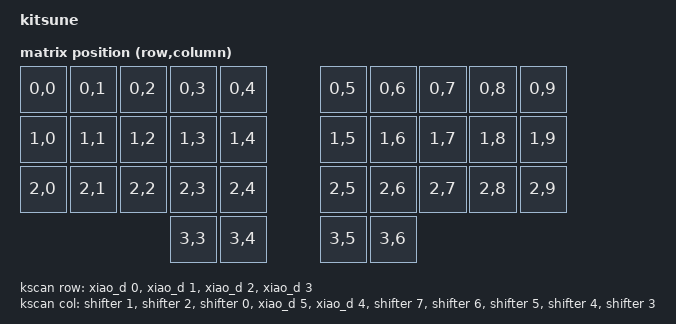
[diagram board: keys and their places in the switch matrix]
/*
 * Copyright (c) 2023 Sviatoslav Bulbakha
 *
 * SPDX-License-Identifier: MIT
 */

#include <dt-bindings/zmk/matrix_transform.h>

&xiao_spi {
	status = "okay";

	cs-gpios = <&xiao_d 7 GPIO_ACTIVE_LOW>, <&xiao_d 6 GPIO_ACTIVE_HIGH>;
	shifter: 595@0 {
		compatible = "zmk,gpio-595";
		status = "okay";
		gpio-controller;
		spi-max-frequency = <200000>;
		reg = <0>;
		label = "4HC595";
		#gpio-cells = <2>;
		ngpios = <8>;
	};

	ls0xx: ls0xx@1 {
		compatible = "sharp,ls0xx";
		label = "DISPLAY";
		spi-max-frequency = <2000000>;
		reg = <1>;
		width = <144>;
		height = <168>;
		// disp-en-gpios = <&gpio0 23 GPIO_ACTIVE_HIGH>;
	};
};


&xiao_serial { status = "disabled"; };

/ {
	model = "kitsune";
	compatible = "ssbb,kitsune";

	chosen {
		zmk,kscan = &kscan;
		zmk,matrix_transform = &transform;
		zephyr,display = &ls0xx;
	};

	transform: transform {
		compatible = "zmk,matrix-transform";
		rows = <4>;
		columns = <10>;

		map = <
	RC(0,0) RC(0,1) RC(0,2) RC(0,3) RC(0,4) 	RC(0,5) RC(0,6) RC(0,7) RC(0,8) RC(0,9)
	RC(1,0) RC(1,1) RC(1,2) RC(1,3) RC(1,4) 	RC(1,5) RC(1,6) RC(1,7) RC(1,8) RC(1,9)
	RC(2,0) RC(2,1) RC(2,2) RC(2,3) RC(2,4) 	RC(2,5) RC(2,6) RC(2,7) RC(2,8) RC(2,9)
	                       RC(3,3)  RC(3,4) 	RC(3,5) RC(3,6)
	  >;
	};
	kscan: kscan {
		compatible = "zmk,kscan-gpio-matrix";
		label = "KSCAN";

		diode-direction = "col2row";

		col-gpios
			= <&shifter 1 (GPIO_ACTIVE_HIGH)>
			, <&shifter 2 (GPIO_ACTIVE_HIGH)>
			, <&shifter 0 (GPIO_ACTIVE_HIGH)>
			, <&xiao_d  5 (GPIO_ACTIVE_HIGH)>
			, <&xiao_d  4 (GPIO_ACTIVE_HIGH)>
			, <&shifter 7 (GPIO_ACTIVE_HIGH)>
			, <&shifter 6 (GPIO_ACTIVE_HIGH)>
			, <&shifter 5 (GPIO_ACTIVE_HIGH)>
			, <&shifter 4 (GPIO_ACTIVE_HIGH)>
			, <&shifter 3 (GPIO_ACTIVE_HIGH)>
			;
		row-gpios
			= <&xiao_d 0 (GPIO_ACTIVE_HIGH | GPIO_PULL_DOWN)>
			, <&xiao_d 1 (GPIO_ACTIVE_HIGH | GPIO_PULL_DOWN)>
			, <&xiao_d 2 (GPIO_ACTIVE_HIGH | GPIO_PULL_DOWN)>
			, <&xiao_d 3 (GPIO_ACTIVE_HIGH | GPIO_PULL_DOWN)>
			;
	};
};
